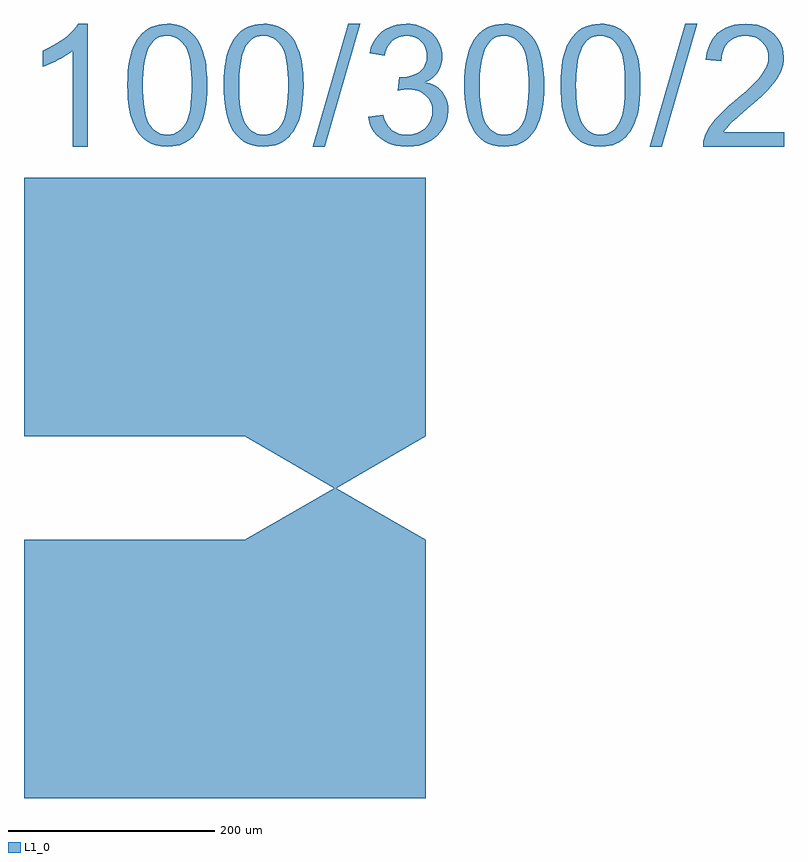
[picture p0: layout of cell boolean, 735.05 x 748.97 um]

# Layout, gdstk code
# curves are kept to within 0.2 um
import gdstk
lib = gdstk.Library(unit=1e-6, precision=1e-09)
def P(c, l, *ps):  # polygons
    for p in ps: c.add(gdstk.Polygon(p, *l))
L1_0 = (1, 0)

boolean = lib.new_cell('boolean')
P(boolean, L1_0, [(61.665,448.966),(52.29,448.966),(50.557,446.268),(47.158,442.167),(39.359,435.186),(35.583,432.44),(29.459,428.629),(18.023,423.103),(18.023,407.586),(25.246,410.304),(33.338,414.092),(41.046,418.406),(47.117,422.699),(47.117,330),(61.665,330)],
  [(325.296,448.966),(313.658,448.966),(279.31,330),(291.029,330)],
  [(377.153,330.407),(381.848,331.247),(386.274,332.546),(390.431,334.302),(394.319,336.517),(399.084,340.183),(403.157,344.434),(405.618,347.856),(407.57,351.478),(409.013,355.299),(409.946,359.321),(410.399,364.995),(410.166,369.181),(409.686,372.13),(407.94,377.537),(406.675,379.995),(404.58,383.017),(402.065,385.697),(397.589,388.978),(395.035,390.285),(388.254,392.473),(391.329,394.101),(395.346,396.948),(398.651,400.283),(401.942,405.436),(403.549,409.637),(404.415,414.092),(404.407,420.498),(403.499,425.306),(401.812,429.954),(400.256,432.963),(398.373,435.811),(394.972,439.611),(390.881,442.843),(384.443,446.224),(379.223,447.895),(373.726,448.794),(369.908,448.966),(364.468,448.668),(360.629,448.055),(353.573,445.824),(350.357,444.207),(346.39,441.53),(342.879,438.31),(340.603,435.573),(338.631,432.559),(336.966,429.269),(335.606,425.703),(334.267,420.517),(348.815,417.931),(349.623,421.616),(351.441,426.417),(353.987,430.345),(356.088,432.478),(358.464,434.224),(362.453,436.115),(366.95,437.134),(370.232,437.328),(373.532,437.108),(378.011,435.954),(381.921,433.81),(384.213,431.832),(386.163,429.517),(388.275,425.609),(389.412,421.177),(389.628,417.931),(389.331,413.945),(387.769,408.778),(386.487,406.56),(384.87,404.586),(382.193,402.333),(379.144,400.5),(374.293,398.514),(369.107,397.445),(363.12,397.403),(361.503,383.987),(370.038,385.539),(375.666,385.364),(378.403,384.871),(383.398,383.077),(385.655,381.776),(388.416,379.623),(390.773,377.101),(392.196,375.04),(394.16,370.482),(394.7,367.985),(394.962,364.429),(394.679,360.676),(394.096,358.026),(391.975,353.153),(390.436,350.929),(387.891,348.184),(384.934,345.828),(382.549,344.404),(377.349,342.44),(374.533,341.9),(370.555,341.638),(367.201,341.819),(362.564,342.769),(358.4,344.534),(355.886,346.164),(353.619,348.207),(350.744,352.144),(348.503,357.129),(347.36,361.034),(332.812,359.095),(333.748,354.116),(334.915,350.637),(336.48,347.376),(338.443,344.333),(340.804,341.509),(344.572,338.082),(348.905,335.172),(352.433,333.415),(356.199,332.02),(360.204,330.99),(364.447,330.323),(370.474,330)],
  [(651.158,448.966),(639.52,448.966),(605.172,330),(616.891,330)],
  [(735.048,344.224),(676.94,344.224),(679.687,348.184),(684.944,354.01),(713.338,378.875),(719.263,384.605),(724.865,390.874),(728.108,395.271),(731.977,402.293),(734.159,409.192),(734.887,416.234),(734.489,421.615),(733.669,425.415),(732.402,429.013),(730.687,432.41),(728.525,435.605),(724.946,439.55),(720.685,442.94),(717.116,444.988),(713.227,446.612),(709.018,447.812),(704.489,448.589),(697.953,448.966),(691.471,448.612),(686.97,447.881),(682.779,446.753),(678.896,445.227),(675.323,443.302),(671.04,440.116),(667.371,436.251),(665.064,432.926),(663.14,429.236),(661.597,425.18),(660.436,420.758),(659.483,414.294),(674.434,412.759),(674.716,417.179),(676.071,423.053),(678.546,428.017),(680.819,430.822),(683.509,433.164),(688.173,435.701),(693.595,437.067),(697.629,437.328),(701.455,437.09),(706.631,435.843),(711.129,433.526),(713.753,431.387),(717.323,426.898),(719.178,422.521),(719.935,416.8),(719.664,413.46),(719.104,410.9),(717.067,405.639),(713.147,399.262),(709.93,395.282),(699.028,384.414),(676.061,364.479),(670.878,359.282),(665.518,352.933),(662.322,348.194),(659.772,343.405),(658.432,340.183),(657.078,335.172),(656.735,330),(735.048,330)],
  [(388.603,-50),(302,0),(388.603,50),(388.603,300),(0,300),(0,50),(213.397,50),(300,0),(213.397,-50),(0,-50),(0,-300),(388.603,-300)],
  [(100.453,377.1),(101.353,368.7),(102.853,361.2),(104.953,354.45),(107.503,348.6),(109.453,345.15),(111.703,342),(115.903,337.65),(119.503,335.1),(123.253,333),(127.453,331.5),(132.103,330.45),(138.553,330),(143.653,330.3),(150.553,331.65),(153.553,332.85),(156.553,334.35),(160.153,336.9),(163.453,339.9),(167.653,345.15),(169.453,348.15),(171.103,351.6),(174.553,361.65),(176.203,370.95),(177.103,381.6),(177.253,389.55),(176.953,400.65),(175.603,412.65),(174.553,417),(171.403,426.45),(169.003,431.4),(165.253,437.1),(161.953,440.55),(158.053,443.55),(155.353,445.2),(152.353,446.55),(147.553,448.05),(142.303,448.8),(138.553,448.95),(130.153,448.2),(126.703,447.3),(120.703,444.6),(117.103,442.2),(111.703,436.65),(109.603,433.8),(106.153,427.5),(102.703,417.3),(101.803,412.95),(100.453,402.9),(100.003,389.55),(114.853,389.55),(115.153,400.2),(116.803,413.7),(118.153,419.25),(121.003,426.6),(125.053,432),(129.403,435.3),(131.953,436.35),(138.403,437.4),(142.453,436.95),(145.153,436.2),(147.853,435),(152.653,431.25),(155.503,427.8),(156.703,425.7),(157.903,423.3),(159.403,418.8),(160.603,413.55),(161.503,407.25),(162.253,395.1),(162.253,384),(161.503,371.7),(160.603,365.55),(159.403,360.3),(157.903,355.8),(155.503,351.15),(152.653,347.7),(147.853,344.1),(145.303,342.75),(142.453,342),(138.553,341.7),(134.653,342),(131.953,342.75),(126.853,345.6),(124.603,347.7),(120.403,353.25),(117.853,360.15),(116.653,365.55),(115.753,371.7),(115.153,378.75),(114.853,389.55),(100.003,389.55)],
  [(193.557,377.1),(194.457,368.7),(195.957,361.2),(198.057,354.45),(200.607,348.6),(202.557,345.15),(204.807,342),(209.007,337.65),(212.607,335.1),(216.357,333),(220.557,331.5),(225.207,330.45),(231.657,330),(236.757,330.3),(243.657,331.65),(246.657,332.85),(249.657,334.35),(253.257,336.9),(256.557,339.9),(260.757,345.15),(262.557,348.15),(264.207,351.6),(267.657,361.65),(269.307,370.95),(270.207,381.6),(270.357,389.55),(270.057,400.65),(268.707,412.65),(267.657,417),(264.507,426.45),(262.107,431.4),(258.357,437.1),(255.057,440.55),(251.157,443.55),(248.457,445.2),(245.457,446.55),(240.657,448.05),(235.407,448.8),(231.657,448.95),(223.257,448.2),(219.807,447.3),(213.807,444.6),(210.207,442.2),(204.807,436.65),(202.707,433.8),(199.257,427.5),(195.807,417.3),(194.907,412.95),(193.557,402.9),(193.107,389.55),(207.957,389.55),(208.257,400.2),(209.907,413.7),(211.257,419.25),(214.107,426.6),(218.157,432),(222.507,435.3),(225.057,436.35),(231.507,437.4),(235.557,436.95),(238.257,436.2),(240.957,435),(245.757,431.25),(248.607,427.8),(249.807,425.7),(251.007,423.3),(252.507,418.8),(253.707,413.55),(254.607,407.25),(255.357,395.1),(255.357,384),(254.607,371.7),(253.707,365.55),(252.507,360.3),(251.007,355.8),(248.607,351.15),(245.757,347.7),(240.957,344.1),(238.407,342.75),(235.557,342),(231.657,341.7),(227.757,342),(225.057,342.75),(219.957,345.6),(217.707,347.7),(213.507,353.25),(210.957,360.15),(209.757,365.55),(208.857,371.7),(208.257,378.75),(207.957,389.55),(193.107,389.55)],
  [(426.316,377.1),(427.216,368.7),(428.716,361.2),(430.816,354.45),(433.366,348.6),(435.316,345.15),(437.566,342),(441.766,337.65),(445.366,335.1),(449.116,333),(453.316,331.5),(457.966,330.45),(464.416,330),(469.516,330.3),(476.416,331.65),(479.416,332.85),(482.416,334.35),(486.016,336.9),(489.316,339.9),(493.516,345.15),(495.316,348.15),(496.966,351.6),(500.416,361.65),(502.066,370.95),(502.966,381.6),(503.116,389.55),(502.816,400.65),(501.466,412.65),(500.416,417),(497.266,426.45),(494.866,431.4),(491.116,437.1),(487.816,440.55),(483.916,443.55),(481.216,445.2),(478.216,446.55),(473.416,448.05),(468.166,448.8),(464.416,448.95),(456.016,448.2),(452.566,447.3),(446.566,444.6),(442.966,442.2),(437.566,436.65),(435.466,433.8),(432.016,427.5),(428.566,417.3),(427.666,412.95),(426.316,402.9),(425.866,389.55),(440.716,389.55),(441.016,400.2),(442.666,413.7),(444.016,419.25),(446.866,426.6),(450.916,432),(455.266,435.3),(457.816,436.35),(464.266,437.4),(468.316,436.95),(471.016,436.2),(473.716,435),(478.516,431.25),(481.366,427.8),(482.566,425.7),(483.766,423.3),(485.266,418.8),(486.466,413.55),(487.366,407.25),(488.116,395.1),(488.116,384),(487.366,371.7),(486.466,365.55),(485.266,360.3),(483.766,355.8),(481.366,351.15),(478.516,347.7),(473.716,344.1),(471.166,342.75),(468.316,342),(464.416,341.7),(460.516,342),(457.816,342.75),(452.716,345.6),(450.466,347.7),(446.266,353.25),(443.716,360.15),(442.516,365.55),(441.616,371.7),(441.016,378.75),(440.716,389.55),(425.866,389.55)],
  [(519.419,377.1),(520.319,368.7),(521.819,361.2),(523.919,354.45),(526.469,348.6),(528.419,345.15),(530.669,342),(534.869,337.65),(538.469,335.1),(542.219,333),(546.419,331.5),(551.069,330.45),(557.519,330),(562.619,330.3),(569.519,331.65),(572.519,332.85),(575.519,334.35),(579.119,336.9),(582.419,339.9),(586.619,345.15),(588.419,348.15),(590.069,351.6),(593.519,361.65),(595.169,370.95),(596.069,381.6),(596.219,389.55),(595.919,400.65),(594.569,412.65),(593.519,417),(590.369,426.45),(587.969,431.4),(584.219,437.1),(580.919,440.55),(577.019,443.55),(574.319,445.2),(571.319,446.55),(566.519,448.05),(561.269,448.8),(557.519,448.95),(549.119,448.2),(545.669,447.3),(539.669,444.6),(536.069,442.2),(530.669,436.65),(528.569,433.8),(525.119,427.5),(521.669,417.3),(520.769,412.95),(519.419,402.9),(518.969,389.55),(533.819,389.55),(534.119,400.2),(535.769,413.7),(537.119,419.25),(539.969,426.6),(544.019,432),(548.369,435.3),(550.919,436.35),(557.369,437.4),(561.419,436.95),(564.119,436.2),(566.819,435),(571.619,431.25),(574.469,427.8),(575.669,425.7),(576.869,423.3),(578.369,418.8),(579.569,413.55),(580.469,407.25),(581.219,395.1),(581.219,384),(580.469,371.7),(579.569,365.55),(578.369,360.3),(576.869,355.8),(574.469,351.15),(571.619,347.7),(566.819,344.1),(564.269,342.75),(561.419,342),(557.519,341.7),(553.619,342),(550.919,342.75),(545.819,345.6),(543.569,347.7),(539.369,353.25),(536.819,360.15),(535.619,365.55),(534.719,371.7),(534.119,378.75),(533.819,389.55),(518.969,389.55)])

lib.write_gds('boolean.gds')
